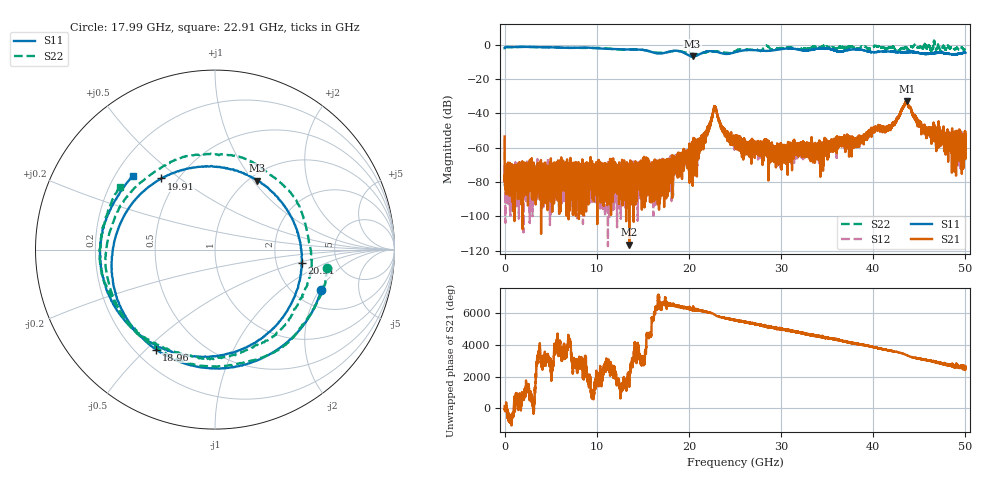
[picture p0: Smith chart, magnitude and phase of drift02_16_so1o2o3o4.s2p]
!Created with skrf (http://scikit-rf.org).
# Hz S RI R 50.0
!freq ReS11 ImS11 ReS21 ImS21 ReS12 ImS12 ReS22 ImS22
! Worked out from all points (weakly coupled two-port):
!   10001 points, 300 kHz to 50 GHz, reference 50 ohm
!   highest |S21| = -32.85 dB at 43.64 GHz (marker M1); lowest = -116.5 dB at 13.53 GHz (marker M2)
!   lowest |S11| = -6.9 dB at 20.4 GHz (marker M3), VSWR 2.64, Z = 54.2 + j52.3 ohm
!   |S11| at or under -10 dB: nowhere
!   |S22| runs from -5.7 to 2.4 dB; largest |S21 - S12| = 0.0039
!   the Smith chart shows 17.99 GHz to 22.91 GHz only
!   S11 on the Smith chart (normalised r, x): 17.99 GHz: 2.75, -2.07; 18.96 GHz: 0.28, -0.54; 19.91 GHz: 0.41, +0.43; 20.91 GHz: 2.79, -0.56; 22.91 GHz: 0.27, +0.36
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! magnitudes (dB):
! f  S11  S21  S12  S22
! 300 kHz  -2.1  -53.5  -55.3  -2.1
! 255.3 MHz  -1.4  -70.7  -81.7  -1.4
! 495.3 MHz  -1.5  -73.8  -82.2  -1.5
! 8.335 GHz  -1.7  -98.5  -72.5  -1.9
! 13.53 GHz  -2.9  -116.5  -72.5  -2.8
! 16.67 GHz  -5.2  -85.8  -76.8  -4.7
! 17.99 GHz  -4.0  -71.5  -77.8  -4.0
! 18.96 GHz  -3.8  -66.3  -65.9  -3.9
! 19.91 GHz  -6.1  -64.6  -64.8  -5.2
! 20.4 GHz  -6.9  -82.2  -67.8  -5.4
! 20.91 GHz  -6.2  -57.3  -62.0  -5.6
! 22.91 GHz  -4.2  -36.9  -36.9  -4.0
! 23.74 GHz  -5.3  -48.7  -51.1  -4.6
! 25 GHz  -4.5  -55.1  -58.8  -3.9
! 29.67 GHz  -2.9  -63.6  -59.3  -2.1
! 33.34 GHz  -3.0  -63.1  -61.6  -1.5
! 41.67 GHz  -4.0  -48.5  -47.9  -1.9
! 43.64 GHz  -4.3  -32.8  -33.4  -1.7
! 45.61 GHz  -5.4  -49.1  -47.8  0.4
! 48.78 GHz  -5.8  -53.6  -61.9  -2.6
! 49.75 GHz  -4.8  -56.5  -57.3  -2.6
! 50 GHz  -4.7  -52.2  -58.6  -2.6
